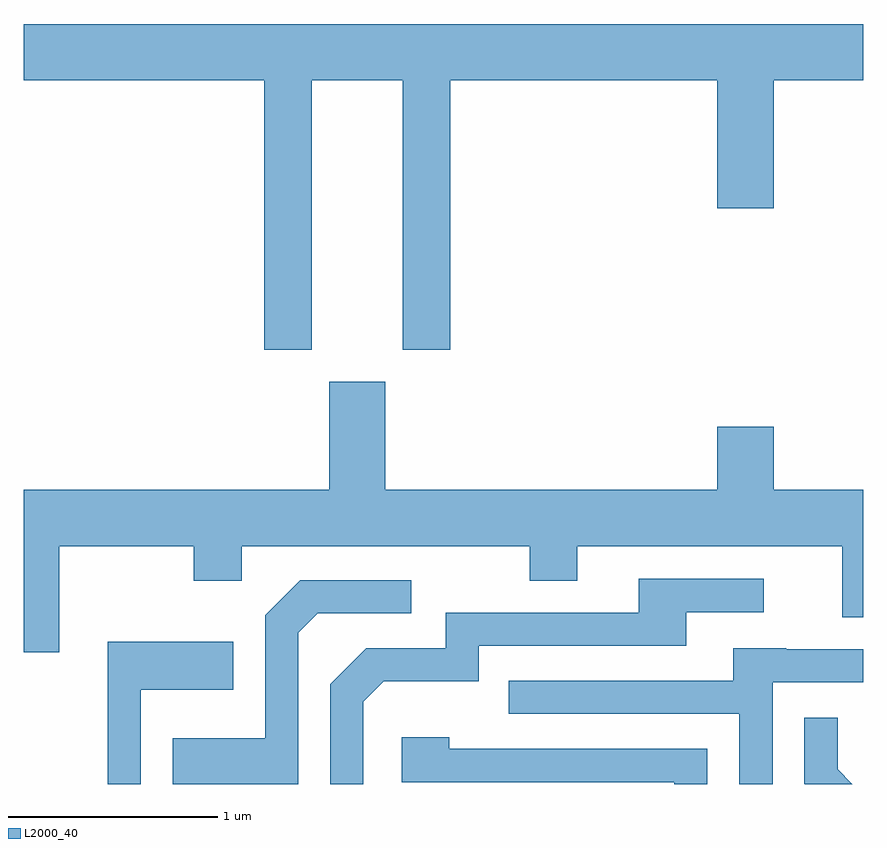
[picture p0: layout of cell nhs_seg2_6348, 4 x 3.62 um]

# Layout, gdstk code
import gdstk
lib = gdstk.Library(unit=1e-6, precision=1e-09)
def P(c, l, *ps):  # polygons
    for p in ps: c.add(gdstk.Polygon(p, *l))
L2000_40 = (2000, 40)

nhs_seg2_6348 = lib.new_cell('nhs_seg2_6348')
P(nhs_seg2_6348, L2000_40, [(372.984,1097.156),(373.416,1097.156),(373.416,1095.871),(373.644,1095.871),(373.644,1097.156),(374.916,1097.156),(374.916,1096.546),(375.184,1096.546),(375.184,1097.156),(375.611,1097.156),(375.611,1097.424),(371.611,1097.424),(371.611,1097.156),(372.756,1097.156),(372.756,1095.871),(372.984,1095.871)],
  [(371.779,1094.936),(372.421,1094.936),(372.421,1094.771),(372.649,1094.771),(372.649,1094.936),(374.021,1094.936),(374.021,1094.771),(374.249,1094.771),(374.249,1094.936),(375.511,1094.936),(375.511,1094.596),(375.611,1094.596),(375.611,1095.204),(375.184,1095.204),(375.184,1095.504),(374.916,1095.504),(374.916,1095.204),(373.334,1095.204),(373.334,1095.719),(373.066,1095.719),(373.066,1095.204),(371.611,1095.204),(371.611,1094.431),(371.779,1094.431)],
  [(373.229,1094.194),(373.327,1094.291),(373.779,1094.291),(373.779,1094.461),(374.769,1094.461),(374.769,1094.621),(375.138,1094.621),(375.138,1094.779),(374.541,1094.779),(374.541,1094.619),(373.621,1094.619),(373.621,1094.449),(373.244,1094.449),(373.071,1094.277),(373.071,1093.802),(373.229,1093.802)],
  [(372.919,1094.524),(373.012,1094.616),(373.458,1094.616),(373.458,1094.774),(372.929,1094.774),(372.761,1094.607),(372.761,1094.019),(372.321,1094.019),(372.321,1093.802),(372.919,1093.802)],
  [(372.169,1094.251),(372.609,1094.251),(372.609,1094.479),(372.011,1094.479),(372.011,1093.802),(372.169,1093.802)],
  [(375.179,1094.286),(375.611,1094.286),(375.611,1094.444),(375.245,1094.444),(375.245,1094.449),(374.991,1094.449),(374.991,1094.294),(373.923,1094.294),(373.923,1094.136),(375.021,1094.136),(375.021,1093.802),(375.179,1093.802)],
  [(375.489,1093.872),(375.489,1094.118),(375.331,1094.118),(375.331,1093.804),(375.333,1093.802),(375.559,1093.802)],
  [(374.869,1093.969),(373.639,1093.969),(373.639,1094.024),(373.411,1094.024),(373.411,1093.811),(374.711,1093.811),(374.711,1093.802),(374.869,1093.802)])

lib.write_gds('nhs_seg2_6348.gds')
